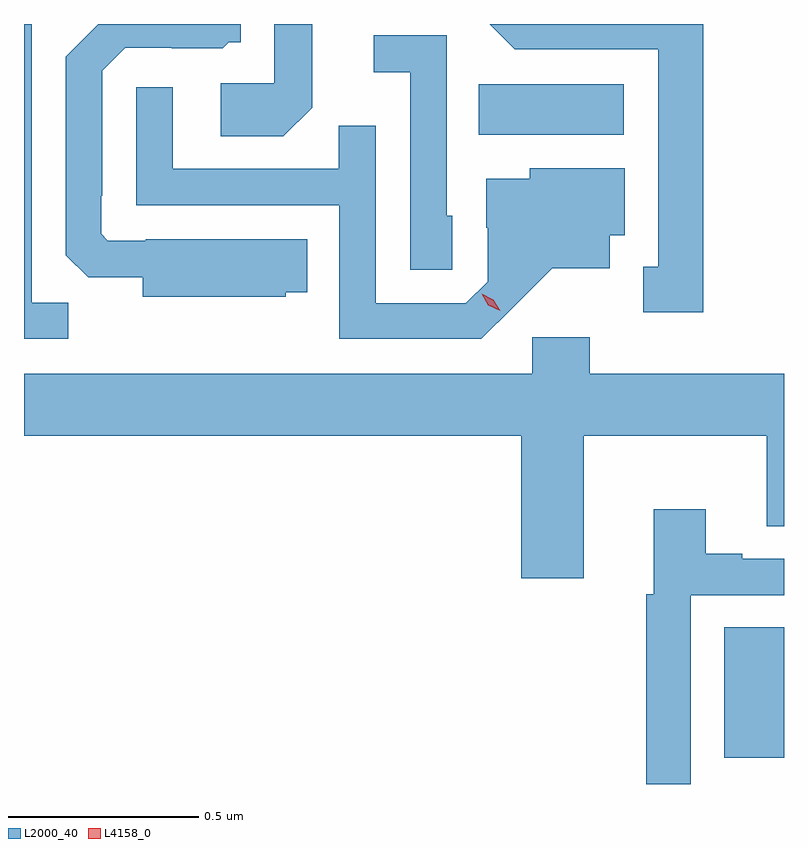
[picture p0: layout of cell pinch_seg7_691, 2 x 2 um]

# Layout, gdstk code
import gdstk
lib = gdstk.Library(unit=1e-6, precision=1e-09)
def R(c, l, rs):  # rectangles x0, y0, x1, y1
    for r in rs: c.add(gdstk.rectangle(r[:2], r[2:], *l))
def P(c, l, *ps):  # polygons
    for p in ps: c.add(gdstk.Polygon(p, *l))
L2000_40 = (2000, 40)
L4158_0 = (4158, 0)

pinch_seg7_691 = lib.new_cell('pinch_seg7_691')
R(pinch_seg7_691, L2000_40, [(129.578,1009.093,129.735,1009.436), (128.932,1010.732,129.313,1010.866)])
P(pinch_seg7_691, L2000_40, [(128.493,1010.804),(128.493,1011.024),(128.394,1011.024),(128.394,1010.868),(128.253,1010.868),(128.253,1010.728),(128.417,1010.728)],
  [(129.523,1011.024),(128.961,1011.024),(129.027,1010.958),(129.404,1010.958),(129.404,1010.385),(129.365,1010.385),(129.365,1010.265),(129.523,1010.265)],
  [(127.851,1010.291),(127.755,1010.291),(127.755,1011.024),(127.735,1011.024),(127.735,1010.196),(127.851,1010.196)],
  [(128.424,1010.318),(128.48,1010.318),(128.48,1010.458),(128.056,1010.458),(128.056,1010.454),(127.956,1010.454),(127.938,1010.472),(127.938,1010.572),(127.941,1010.572),(127.941,1010.901),(128.001,1010.961),(128.124,1010.961),(128.124,1010.96),(128.258,1010.96),(128.274,1010.976),(128.305,1010.976),(128.305,1011.024),(127.93,1011.024),(127.845,1010.938),(127.845,1010.416),(127.904,1010.357),(128.048,1010.357),(128.048,1010.306),(128.424,1010.306)],
  [(128.862,1010.52),(128.847,1010.52),(128.847,1010.994),(128.655,1010.994),(128.655,1010.897),(128.751,1010.897),(128.751,1010.377),(128.862,1010.377)],
  [(129.022,1010.279),(129.125,1010.381),(129.277,1010.381),(129.277,1010.468),(129.316,1010.468),(129.316,1010.644),(129.066,1010.644),(129.066,1010.617),(128.951,1010.617),(128.951,1010.488),(128.955,1010.488),(128.955,1010.346),(128.898,1010.289),(128.661,1010.289),(128.661,1010.756),(128.563,1010.756),(128.563,1010.643),(128.127,1010.643),(128.127,1010.857),(128.031,1010.857),(128.031,1010.547),(128.565,1010.547),(128.565,1010.196),(128.938,1010.196)],
  [(129.208,1009.94),(129.689,1009.94),(129.689,1009.702),(129.735,1009.702),(129.735,1010.104),(129.224,1010.104),(129.224,1010.2),(129.072,1010.2),(129.072,1010.104),(127.735,1010.104),(127.735,1009.94),(129.044,1009.94),(129.044,1009.566),(129.208,1009.566)],
  [(129.489,1009.521),(129.735,1009.521),(129.735,1009.617),(129.625,1009.617),(129.625,1009.63),(129.529,1009.63),(129.529,1009.747),(129.392,1009.747),(129.392,1009.524),(129.373,1009.524),(129.373,1009.024),(129.489,1009.024)])
P(pinch_seg7_691, L4158_0, [(128.988,1010.269),(128.957,1010.284),(128.939,1010.314),(128.939,1010.314),(128.94,1010.314),(128.97,1010.299),(128.988,1010.269),(128.988,1010.269)])

lib.write_gds('pinch_seg7_691.gds')
